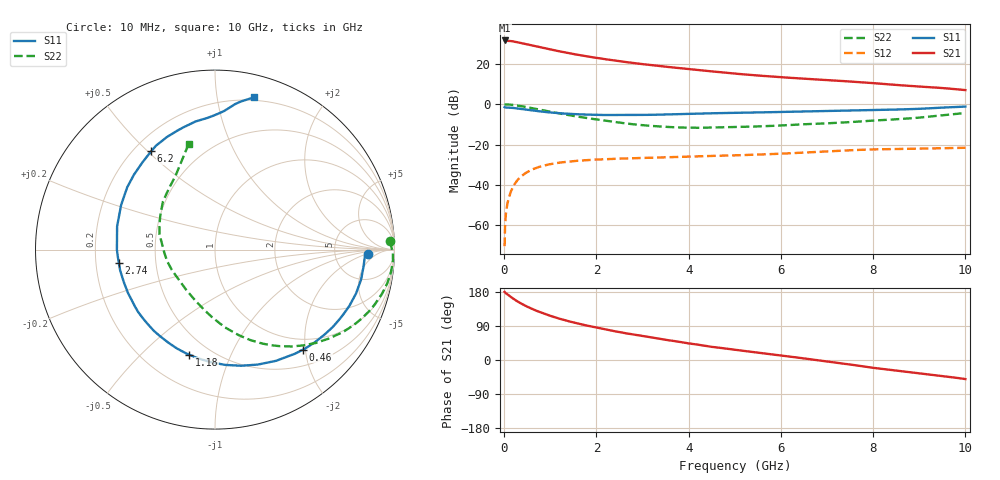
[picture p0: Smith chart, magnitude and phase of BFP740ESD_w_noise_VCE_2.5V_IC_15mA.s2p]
! Infineon Technologies  Discrete & RF Semiconductors
! BFP740ESD
! VCE =  2.5 V,  IC =  15 mA
! Common Emitter S-Parameters:  Jan 2016
# GHz  S  MA  R  50
!  f  S11  S21  S12  S22
! GHz  MAG  ANG  MAG  ANG  MAG  ANG  MAG  ANG
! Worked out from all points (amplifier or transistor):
!   233 points, 10 MHz to 10 GHz, reference 50 ohm
!   highest |S21| = 31.7 dB at 10 MHz (marker M1)
!   |S21| within 3 dB of that: start of sweep to 702.1 MHz
!   unconditionally stable (mu >= 1): start of sweep to 10.52 MHz; 4.792 GHz to 7.967 GHz; 8.028 GHz to 8.869 GHz
!   at 200 MHz: K = 0.11, MSG = 35.9 dB, |S12| = -40.6 dB
!   at 1.74 GHz: K = 0.50, MSG = 25.9 dB, |S12| = -27.8 dB
!   at 10 GHz: K = 0.74, MSG = 14.3 dB, |S12| = -21.6 dB
!   lowest NFmin = 0.69 dB at 450 MHz
!   S11 on the Smith chart (normalised r, x): 10 MHz: 12, -2; 460 MHz: 0.79, -1.95; 1.18 GHz: 0.39, -0.71; 2.74 GHz: 0.30, -0.06; 6.2 GHz: 0.27, +0.51; 10 GHz: 0.17, +1.28
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0.01  0.8538 -1.5  38.5 179.8  0.0003 46.8  0.9767 2.7
0.02  0.8362 -2.4  37.98 178.0  0.001 89.3  0.9912 -1.2
0.07  0.8316 -8.1  37.8 173.2  0.0034 82.8  0.991 -5.1
0.145  0.8233 -16.7  37.17 166.5  0.0068 80.8  0.9783 -10.8
0.22  0.8055 -24.9  35.94 160.0  0.0101 76.4  0.9558 -16.0
0.34  0.7733 -37.4  33.73 151.0  0.0151 70.1  0.9117 -23.9
0.46  0.7423 -48.7  31.42 143.2  0.0194 64.6  0.8632 -30.7
0.6  0.707 -61.2  28.92 135.0  0.0238 58.6  0.805 -38.0
0.7  0.6835 -69.6  27.29 129.9  0.0265 54.9  0.7657 -42.8
0.9  0.645 -84.9  24.34 120.7  0.0309 48.5  0.6912 -51.3
1.18  0.6028 -103.9  20.88 109.8  0.0354 41.3  0.5992 -61.8
1.4  0.5797 -116.8  18.62 102.2  0.0379 36.9  0.5392 -68.9
1.68  0.5605 -130.9  16.34 93.9  0.0403 32.7  0.4775 -76.7
2.2  0.5423 -153.0  13.15 80.5  0.0434 27.0  0.3904 -90.0
2.74  0.5412 -172.1  10.82 68.5  0.0456 23.1  0.3245 -104.4
3.4  0.5553 169.3  8.839 55.5  0.0479 20.2  0.2803 -122.3
4.5  0.5999 144.6  6.571 34.7  0.0522 16.4  0.2657 -155.0
5.1  0.6171 136.0  5.66 25.4  0.0544 15.2  0.275 -168.1
6.2  0.653 123.0  4.552 9.0  0.061 13.2  0.3058 169.7
6.8  0.6745 115.7  4.119 -0.4  0.0661 10.8  0.3298 159.8
8.4  0.7352 93.2  3.087 -26.6  0.0772 -0.8  0.4175 129.4
10  0.8771 75.5  2.256 -50.3  0.0832 -11.5  0.6088 103.9
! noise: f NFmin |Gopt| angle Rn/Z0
0.45  0.69  0.08  1  0.11
0.9  0.73  0.08  8  0.09
1.9  0.75  0.05  2  0.09
2.4  0.79  0.03  -61  0.11
5.5  0.95  0.27  -127  0.12
10  1.6  0.56  -87  0.52
